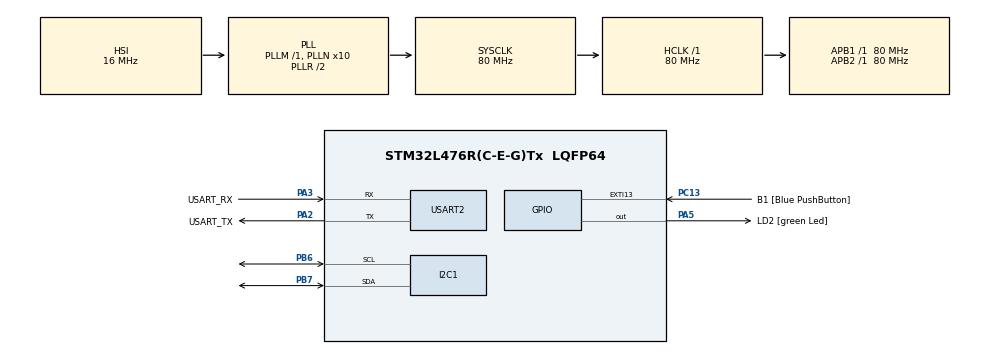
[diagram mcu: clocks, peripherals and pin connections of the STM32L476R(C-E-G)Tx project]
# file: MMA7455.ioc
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Mcu.Family=STM32L4
Mcu.Name=STM32L476R(C-E-G)Tx
Mcu.Package=LQFP64
NVIC.PriorityGroup=NVIC_PRIORITYGROUP_4
PA13\ (JTMS-SWDIO).GPIO_Label=TMS
PA13\ (JTMS-SWDIO).Mode=Serial_Wire
PA13\ (JTMS-SWDIO).Signal=SYS_JTMS-SWDIO
PA14\ (JTCK-SWCLK).GPIO_Label=TCK
PA14\ (JTCK-SWCLK).Mode=Serial_Wire
PA14\ (JTCK-SWCLK).Signal=SYS_JTCK-SWCLK
PA2.GPIO_Label=USART_TX
PA2.GPIO_Mode=GPIO_MODE_AF_PP
PA2.GPIO_PuPd=GPIO_NOPULL
PA2.GPIO_Speed=GPIO_SPEED_FREQ_VERY_HIGH
PA2.Mode=Asynchronous
PA2.Signal=USART2_TX
PA3.GPIO_Label=USART_RX
PA3.GPIO_Mode=GPIO_MODE_AF_PP
PA3.GPIO_PuPd=GPIO_NOPULL
PA3.GPIO_Speed=GPIO_SPEED_FREQ_VERY_HIGH
PA3.Mode=Asynchronous
PA3.Signal=USART2_RX
PA5.GPIO_Label=LD2 [green Led]
PA5.GPIO_ModeDefaultOutputPP=GPIO_MODE_OUTPUT_PP
PA5.GPIO_PuPd=GPIO_NOPULL
PA5.GPIO_Speed=GPIO_SPEED_FREQ_LOW
PA5.Signal=GPIO_Output
PB3\ (JTDO-TRACESWO).GPIO_Label=SWO
PB3\ (JTDO-TRACESWO).Signal=SYS_JTDO-SWO
PB6.Mode=I2C
PB6.Signal=I2C1_SCL
PB7.Mode=I2C
PB7.Signal=I2C1_SDA
PC13.GPIO_Label=B1 [Blue PushButton]
PC13.GPIO_ModeDefaultEXTI=GPIO_MODE_IT_FALLING
PC13.GPIO_PuPd=GPIO_NOPULL
PC13.Signal=GPXTI13
PC14-OSC32_IN\ (PC14).Mode=LSE-External-Oscillator
PC14-OSC32_IN\ (PC14).Signal=RCC_OSC32_IN
PC15-OSC32_OUT\ (PC15).Mode=LSE-External-Oscillator
PC15-OSC32_OUT\ (PC15).Signal=RCC_OSC32_OUT
PH0-OSC_IN\ (PH0).Signal=RCC_OSC_IN
PH1-OSC_OUT\ (PH1).Signal=RCC_OSC_OUT
ProjectManager.HeapSize=0x200
ProjectManager.StackSize=0x400
ProjectManager.TargetToolchain=SW4STM32
RCC.ADCFreq_Value=64000000
RCC.AHBFreq_Value=80000000
RCC.APB1Freq_Value=80000000
RCC.APB1TimFreq_Value=80000000
RCC.APB2Freq_Value=80000000
RCC.APB2TimFreq_Value=80000000
RCC.CortexFreq_Value=80000000
RCC.HCLKFreq_Value=80000000
RCC.HSE_VALUE=8000000
RCC.HSI_VALUE=16000000
RCC.MSI_VALUE=4000000
RCC.PLLN=10
RCC.PLLSourceVirtual=RCC_PLLSOURCE_HSI
RCC.PREFETCH_ENABLE=1
RCC.SYSCLKFreq_VALUE=80000000
RCC.SYSCLKSource=RCC_SYSCLKSOURCE_PLLCLK
RCC.USBFreq_Value=64000000
RCC.VCOOutputFreq_Value=160000000
USART2.VirtualMode-Asynchronous=VM_ASYNC
board=NUCLEO-L476RG

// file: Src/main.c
/**
  ******************************************************************************
  * @file           : main.c
  * @brief          : Main program body
  ******************************************************************************
  ** This notice applies to any and all portions of this file
  * that are not between comment pairs USER CODE BEGIN and
  * USER CODE END. Other portions of this file, whether
  * inserted by the user or by software development tools
  * are owned by their respective copyright owners.
  *
  * COPYRIGHT(c) 2018 STMicroelectronics
  *
  * Redistribution and use in source and binary forms, with or without modification,
  * are permitted provided that the following conditions are met:
  *   1. Redistributions of source code must retain the above copyright notice,
  *      this list of conditions and the following disclaimer.
  *   2. Redistributions in binary form must reproduce the above copyright notice,
  *      this list of conditions and the following disclaimer in the documentation
  *      and/or other materials provided with the distribution.
  *   3. Neither the name of STMicroelectronics nor the names of its contributors
  *      may be used to endorse or promote products derived from this software
  *      without specific prior written permission.
  *
  * THIS SOFTWARE IS PROVIDED BY THE COPYRIGHT HOLDERS AND CONTRIBUTORS "AS IS"
  * AND ANY EXPRESS OR IMPLIED WARRANTIES, INCLUDING, BUT NOT LIMITED TO, THE
  * IMPLIED WARRANTIES OF MERCHANTABILITY AND FITNESS FOR A PARTICULAR PURPOSE ARE
  * DISCLAIMED. IN NO EVENT SHALL THE COPYRIGHT HOLDER OR CONTRIBUTORS BE LIABLE
  * FOR ANY DIRECT, INDIRECT, INCIDENTAL, SPECIAL, EXEMPLARY, OR CONSEQUENTIAL
  * DAMAGES (INCLUDING, BUT NOT LIMITED TO, PROCUREMENT OF SUBSTITUTE GOODS OR
  * SERVICES; LOSS OF USE, DATA, OR PROFITS; OR BUSINESS INTERRUPTION) HOWEVER
  * CAUSED AND ON ANY THEORY OF LIABILITY, WHETHER IN CONTRACT, STRICT LIABILITY,
  * OR TORT (INCLUDING NEGLIGENCE OR OTHERWISE) ARISING IN ANY WAY OUT OF THE USE
  * OF THIS SOFTWARE, EVEN IF ADVISED OF THE POSSIBILITY OF SUCH DAMAGE.
  *
  ******************************************************************************
  *
  */
#include "main.h"
#include "stm32l4xx_hal.h"

/* USER CODE BEGIN Includes */
#include "MMA7455.h"
#include "ssd1306.h"
#include "fonts.h"

/* USER CODE END Includes */

I2C_HandleTypeDef hi2c1;

UART_HandleTypeDef huart2;

/* USER CODE BEGIN PV */
/* Private variables ---------------------------------------------------------*/
char x_axis[12];
char y_axis[12];
char z_axis[12];
char pitch[5];
char roll[5];

/* USER CODE END PV */

void SystemClock_Config(void);
static void MX_GPIO_Init(void);
static void MX_USART2_UART_Init(void);
static void MX_I2C1_Init(void);

/* USER CODE BEGIN PFP */
/* Private function prototypes -----------------------------------------------*/

/* USER CODE END PFP */

int main(void)
{

  /* MCU Configuration----------------------------------------------------------*/

  /* Reset of all peripherals, Initializes the Flash interface and the Systick. */
  HAL_Init();

  /* Configure the system clock */
  SystemClock_Config();

  /* Initialize all configured peripherals */
  MX_GPIO_Init();
  MX_USART2_UART_Init();
  MX_I2C1_Init();
  /* USER CODE BEGIN 2 */
  MMA7455_Init_8G();
  ssd1306_Init();
  HAL_Delay(1000);
  ssd1306_Fill(Black);
  ssd1306_UpdateScreen();
  /* USER CODE END 2 */

  /* Infinite loop */
  /* USER CODE BEGIN WHILE */
  while (1)
  {
	  sprintf(x_axis, "%d", MMA7455_Read_8Bit_X());
	  sprintf(y_axis, "%d", MMA7455_Read_8Bit_Y());
	  sprintf(z_axis, "%d", MMA7455_Read_8Bit_Z());
	  snprintf(pitch, sizeof(pitch), "%f", MMA7455_Read_Pitch());
	  snprintf(roll, sizeof(roll), "%f", MMA7455_Read_Roll());
	  //MMA7455_Read_8Bit_All();
	  ssd1306_SetCursor(5,14);
	  ssd1306_WriteString(pitch,Font_11x18,White);
	  ssd1306_WriteString(" ", Font_11x18, White);
	  ssd1306_WriteString(roll, Font_11x18, White);
	  ssd1306_WriteString(" ", Font_11x18, White);
	  ssd1306_WriteString(x_axis,Font_11x18,White);
	  ssd1306_WriteString(" ", Font_11x18, White);
	  ssd1306_WriteString(y_axis,Font_11x18,White);
	  ssd1306_WriteString(" ", Font_11x18, White);
	  ssd1306_WriteString(z_axis,Font_11x18,White);
	  ssd1306_WriteString("   ", Font_11x18, White);
	  ssd1306_UpdateScreen();

  /* USER CODE END WHILE */

  }

}

void SystemClock_Config(void)
{

  RCC_OscInitTypeDef RCC_OscInitStruct;
  RCC_ClkInitTypeDef RCC_ClkInitStruct;
  RCC_PeriphCLKInitTypeDef PeriphClkInit;

    /**Initializes the CPU, AHB and APB busses clocks
    */
  RCC_OscInitStruct.OscillatorType = RCC_OSCILLATORTYPE_HSI;
  RCC_OscInitStruct.HSIState = RCC_HSI_ON;
  RCC_OscInitStruct.HSICalibrationValue = 16;
  RCC_OscInitStruct.PLL.PLLState = RCC_PLL_ON;
  RCC_OscInitStruct.PLL.PLLSource = RCC_PLLSOURCE_HSI;
  RCC_OscInitStruct.PLL.PLLM = 1;
  RCC_OscInitStruct.PLL.PLLN = 10;
  RCC_OscInitStruct.PLL.PLLP = RCC_PLLP_DIV7;
  RCC_OscInitStruct.PLL.PLLQ = RCC_PLLQ_DIV2;
  RCC_OscInitStruct.PLL.PLLR = RCC_PLLR_DIV2;
  if (HAL_RCC_OscConfig(&RCC_OscInitStruct) != HAL_OK)
  {
    _Error_Handler(__FILE__, __LINE__);
  }

    /**Initializes the CPU, AHB and APB busses clocks
    */
  RCC_ClkInitStruct.ClockType = RCC_CLOCKTYPE_HCLK|RCC_CLOCKTYPE_SYSCLK
                              |RCC_CLOCKTYPE_PCLK1|RCC_CLOCKTYPE_PCLK2;
  RCC_ClkInitStruct.SYSCLKSource = RCC_SYSCLKSOURCE_PLLCLK;
  RCC_ClkInitStruct.AHBCLKDivider = RCC_SYSCLK_DIV1;
  RCC_ClkInitStruct.APB1CLKDivider = RCC_HCLK_DIV1;
  RCC_ClkInitStruct.APB2CLKDivider = RCC_HCLK_DIV1;

  if (HAL_RCC_ClockConfig(&RCC_ClkInitStruct, FLASH_LATENCY_4) != HAL_OK)
  {
    _Error_Handler(__FILE__, __LINE__);
  }

  PeriphClkInit.PeriphClockSelection = RCC_PERIPHCLK_USART2|RCC_PERIPHCLK_I2C1;
  PeriphClkInit.Usart2ClockSelection = RCC_USART2CLKSOURCE_PCLK1;
  PeriphClkInit.I2c1ClockSelection = RCC_I2C1CLKSOURCE_PCLK1;
  if (HAL_RCCEx_PeriphCLKConfig(&PeriphClkInit) != HAL_OK)
  {
    _Error_Handler(__FILE__, __LINE__);
  }

    /**Configure the main internal regulator output voltage
    */
  if (HAL_PWREx_ControlVoltageScaling(PWR_REGULATOR_VOLTAGE_SCALE1) != HAL_OK)
  {
    _Error_Handler(__FILE__, __LINE__);
  }

    /**Configure the Systick interrupt time
    */
  HAL_SYSTICK_Config(HAL_RCC_GetHCLKFreq()/1000);

    /**Configure the Systick
    */
  HAL_SYSTICK_CLKSourceConfig(SYSTICK_CLKSOURCE_HCLK);

  /* SysTick_IRQn interrupt configuration */
  HAL_NVIC_SetPriority(SysTick_IRQn, 0, 0);
}

/* I2C1 init function */
static void MX_I2C1_Init(void)
{

  hi2c1.Instance = I2C1;
  hi2c1.Init.Timing = 0x10909CEC;
  hi2c1.Init.OwnAddress1 = 0;
  hi2c1.Init.AddressingMode = I2C_ADDRESSINGMODE_7BIT;
  hi2c1.Init.DualAddressMode = I2C_DUALADDRESS_DISABLE;
  hi2c1.Init.OwnAddress2 = 0;
  hi2c1.Init.OwnAddress2Masks = I2C_OA2_NOMASK;
  hi2c1.Init.GeneralCallMode = I2C_GENERALCALL_DISABLE;
  hi2c1.Init.NoStretchMode = I2C_NOSTRETCH_DISABLE;
  if (HAL_I2C_Init(&hi2c1) != HAL_OK)
  {
    _Error_Handler(__FILE__, __LINE__);
  }

    /**Configure Analogue filter
    */
  if (HAL_I2CEx_ConfigAnalogFilter(&hi2c1, I2C_ANALOGFILTER_ENABLE) != HAL_OK)
  {
    _Error_Handler(__FILE__, __LINE__);
  }

    /**Configure Digital filter
    */
  if (HAL_I2CEx_ConfigDigitalFilter(&hi2c1, 0) != HAL_OK)
  {
    _Error_Handler(__FILE__, __LINE__);
  }

}

/* USART2 init function */
static void MX_USART2_UART_Init(void)
{

  huart2.Instance = USART2;
  huart2.Init.BaudRate = 9600;
  huart2.Init.WordLength = UART_WORDLENGTH_7B;
  huart2.Init.StopBits = UART_STOPBITS_1;
  huart2.Init.Parity = UART_PARITY_NONE;
  huart2.Init.Mode = UART_MODE_TX_RX;
  huart2.Init.HwFlowCtl = UART_HWCONTROL_NONE;
  huart2.Init.OverSampling = UART_OVERSAMPLING_16;
  huart2.Init.OneBitSampling = UART_ONE_BIT_SAMPLE_DISABLE;
  huart2.AdvancedInit.AdvFeatureInit = UART_ADVFEATURE_NO_INIT;
  if (HAL_UART_Init(&huart2) != HAL_OK)
  {
    _Error_Handler(__FILE__, __LINE__);
  }

}

/** Configure pins as
        * Analog
        * Input
        * Output
        * EVENT_OUT
        * EXTI
*/
static void MX_GPIO_Init(void)
{

  GPIO_InitTypeDef GPIO_InitStruct;

  /* GPIO Ports Clock Enable */
  __HAL_RCC_GPIOC_CLK_ENABLE();
  __HAL_RCC_GPIOH_CLK_ENABLE();
  __HAL_RCC_GPIOA_CLK_ENABLE();
  __HAL_RCC_GPIOB_CLK_ENABLE();

  /*Configure GPIO pin Output Level */
  HAL_GPIO_WritePin(LD2_GPIO_Port, LD2_Pin, GPIO_PIN_RESET);

  /*Configure GPIO pin : B1_Pin */
  GPIO_InitStruct.Pin = B1_Pin;
  GPIO_InitStruct.Mode = GPIO_MODE_IT_FALLING;
  GPIO_InitStruct.Pull = GPIO_NOPULL;
  HAL_GPIO_Init(B1_GPIO_Port, &GPIO_InitStruct);

  /*Configure GPIO pin : LD2_Pin */
  GPIO_InitStruct.Pin = LD2_Pin;
  GPIO_InitStruct.Mode = GPIO_MODE_OUTPUT_PP;
  GPIO_InitStruct.Pull = GPIO_NOPULL;
  GPIO_InitStruct.Speed = GPIO_SPEED_FREQ_LOW;
  HAL_GPIO_Init(LD2_GPIO_Port, &GPIO_InitStruct);

}

void _Error_Handler(char *file, int line)
{
  while(1)
  {
  }
}

/************************ (C) COPYRIGHT STMicroelectronics *****END OF FILE****/
